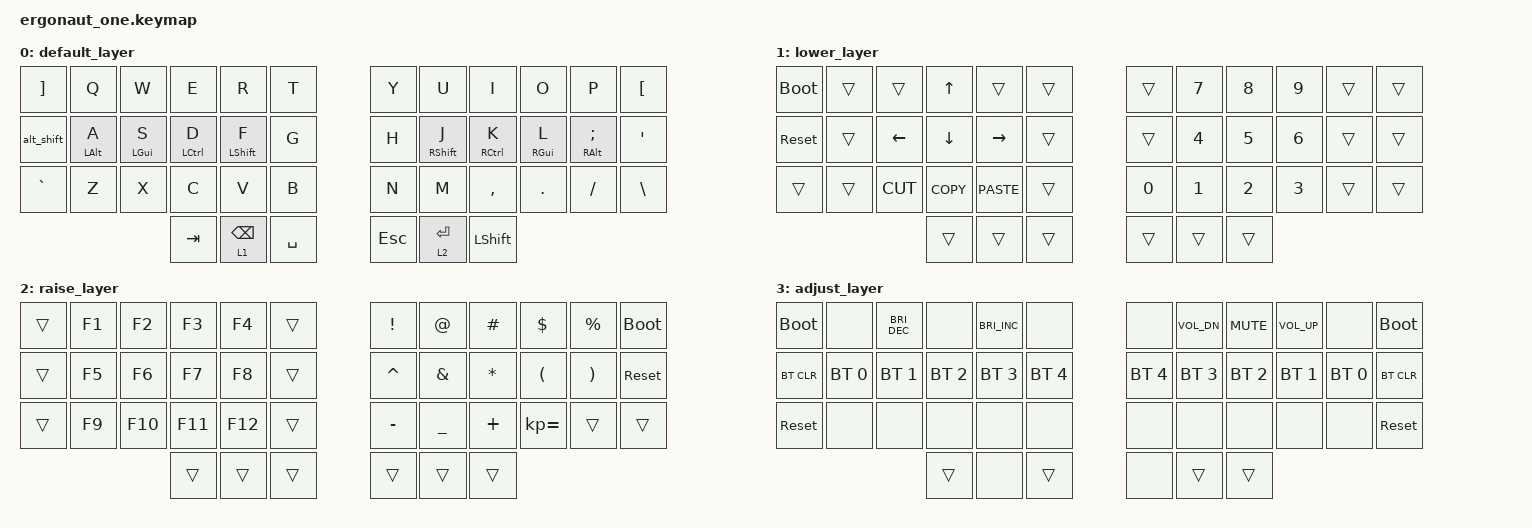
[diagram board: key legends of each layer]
#include <behaviors.dtsi>
#include <dt-bindings/zmk/bt.h>
#include <dt-bindings/zmk/keys.h>

#define DEF 0
#define LWR 1
#define RSE 2
#define ADJ 3
#define QUICK_TAP_MS 200
#define REQUIRE_PRIOR_IDLE_MS 175
#define TAPPING_TERM_MS 280

&lt {
    flavor = "balanced";
    tapping-term-ms = <200>;
    quick-tap-ms = <QUICK_TAP_MS>;
};

/ {
    behaviors {
        hml: homewrow_mods_left {
            compatible = "zmk,behavior-hold-tap";
            #binding-cells = <2>;
            bindings = <&kp>, <&kp>;

            flavor = "balanced";
            tapping-term-ms = <TAPPING_TERM_MS>;
            quick-tap-ms = <QUICK_TAP_MS>;
            require-prior-idle-ms = <REQUIRE_PRIOR_IDLE_MS>;
            hold-trigger-on-release;
            hold-trigger-key-positions = <6 7 8 9 10 11 18 19 20 21 22 23 30 31 32 33 34 35 39 40 41>;
        };

        hmr: homewrow_mods_right {
            compatible = "zmk,behavior-hold-tap";
            #binding-cells = <2>;
            bindings = <&kp>, <&kp>;

            flavor = "balanced";
            tapping-term-ms = <TAPPING_TERM_MS>;
            quick-tap-ms = <QUICK_TAP_MS>;
            require-prior-idle-ms = <REQUIRE_PRIOR_IDLE_MS>;
            hold-trigger-on-release;
            hold-trigger-key-positions = <0 1 2 3 4 5 12 13 14 15 16 17 24 25 26 27 28 29 36 37 38>;
        };
    };

    macros {
        alt_shift: alt_shift {
            compatible = "zmk,behavior-macro";
            #binding-cells = <0>;
            bindings =
                <&macro_press>,
                <&kp LALT>,
                <&macro_press>,
                <&kp LSHFT>,
                <&macro_release>,
                <&kp LALT>,
                <&macro_release>,
                <&kp LSHFT>;
        };
    };

    conditional_layers {
        compatible = "zmk,conditional-layers";

        tri-layer {
            if-layers = <1 2>;
            then-layer = <3>;
        };
    };

    keymap {
        compatible = "zmk,keymap";

        default_layer {
            bindings = <
&kp RBKT    &kp Q            &kp W            &kp E         &kp R              &kp T      &kp Y       &kp U               &kp I           &kp O             &kp P                &kp LBKT
&alt_shift  &hml LEFT_ALT A  &hml LEFT_GUI S  &hml LCTRL D  &hml LEFT_SHIFT F  &kp G      &kp H       &hmr RIGHT_SHIFT J  &hmr RCTRL K    &hmr RIGHT_GUI L  &hmr RIGHT_ALT SEMI  &kp SQT
&kp GRAVE   &kp Z            &kp X            &kp C         &kp V              &kp B      &kp N       &kp M               &kp COMMA       &kp DOT           &kp FSLH             &kp BACKSLASH
                                              &kp TAB       &lt 1 BACKSPACE    &kp SPACE  &kp ESCAPE  &lt 2 ENTER         &kp LEFT_SHIFT
            >;
        };

        lower_layer {
            bindings = <
&bootloader  &trans  &trans          &kp UP_ARROW    &trans           &trans  &trans  &kp N7        &kp NUMBER_8  &kp N9        &trans  &trans
&sys_reset   &trans  &kp LEFT_ARROW  &kp DOWN_ARROW  &kp RIGHT_ARROW  &trans  &trans  &kp NUMBER_4  &kp N5        &kp NUMBER_6  &trans  &trans
&trans       &trans  &kp K_CUT       &kp K_COPY      &kp K_PASTE      &trans  &kp N0  &kp NUMBER_1  &kp NUMBER_2  &kp NUMBER_3  &trans  &trans
                                     &trans          &trans           &trans  &trans  &trans        &trans
            >;
        };

        raise_layer {
            bindings = <
&trans  &kp F1  &kp F2   &kp F3   &kp F4   &trans  &kp EXCLAMATION  &kp AT_SIGN    &kp HASH      &kp DOLLAR            &kp PERCENT            &bootloader
&trans  &kp F5  &kp F6   &kp F7   &kp F8   &trans  &kp CARET        &kp AMPERSAND  &kp ASTERISK  &kp LEFT_PARENTHESIS  &kp RIGHT_PARENTHESIS  &sys_reset
&trans  &kp F9  &kp F10  &kp F11  &kp F12  &trans  &kp MINUS        &kp UNDER      &kp PLUS      &kp KP_EQUAL          &trans                 &trans
                         &trans   &trans   &trans  &trans           &trans         &trans
            >;
        };

        adjust_layer {
            bindings = <
&bootloader  &none         &kp C_BRIGHTNESS_DEC  &none         &kp C_BRIGHTNESS_INC  &none         &none         &kp C_VOL_DN  &kp K_MUTE    &kp C_VOLUME_UP  &none         &bootloader
&bt BT_CLR   &bt BT_SEL 0  &bt BT_SEL 1          &bt BT_SEL 2  &bt BT_SEL 3          &bt BT_SEL 4  &bt BT_SEL 4  &bt BT_SEL 3  &bt BT_SEL 2  &bt BT_SEL 1     &bt BT_SEL 0  &bt BT_CLR
&sys_reset   &none         &none                 &none         &none                 &none         &none         &none         &none         &none            &none         &sys_reset
                                                 &trans        &none                 &trans        &none         &trans        &trans
            >;
        };
    };
};
